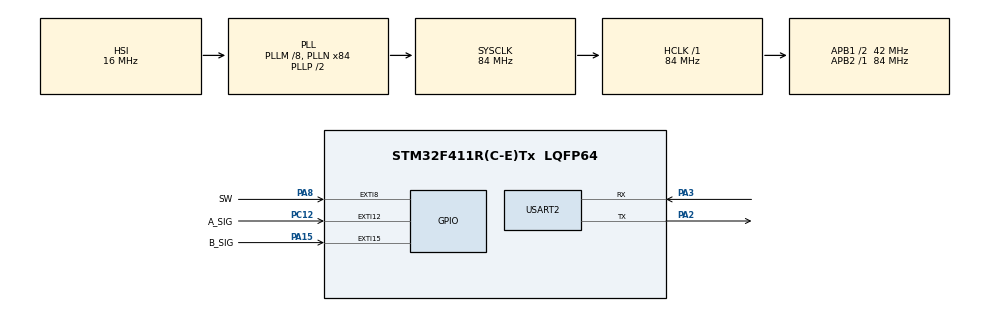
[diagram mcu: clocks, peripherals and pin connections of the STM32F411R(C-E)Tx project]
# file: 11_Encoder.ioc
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Mcu.Family=STM32F4
Mcu.Name=STM32F411R(C-E)Tx
Mcu.Package=LQFP64
NVIC.EXTI15_10_IRQn=true\:0\:0\:false\:false\:true\:true\:true\:true
NVIC.EXTI9_5_IRQn=true\:0\:0\:false\:false\:true\:true\:true\:true
NVIC.PriorityGroup=NVIC_PRIORITYGROUP_4
PA13.Mode=Serial_Wire
PA13.Signal=SYS_JTMS-SWDIO
PA14.Mode=Serial_Wire
PA14.Signal=SYS_JTCK-SWCLK
PA15.GPIO_Label=B_SIG
PA15.Signal=GPXTI15
PA2.Mode=Asynchronous
PA2.Signal=USART2_TX
PA3.Mode=Asynchronous
PA3.Signal=USART2_RX
PA8.GPIO_Label=SW
PA8.GPIO_ModeDefaultEXTI=GPIO_MODE_IT_FALLING
PA8.Signal=GPXTI8
PC12.GPIO_Label=A_SIG
PC12.Signal=GPXTI12
ProjectManager.HeapSize=0x200
ProjectManager.StackSize=0x400
ProjectManager.TargetToolchain=STM32CubeIDE
RCC.48MHZClocksFreq_Value=42000000
RCC.AHBFreq_Value=84000000
RCC.APB1CLKDivider=RCC_HCLK_DIV2
RCC.APB1Freq_Value=42000000
RCC.APB1TimFreq_Value=84000000
RCC.APB2Freq_Value=84000000
RCC.APB2TimFreq_Value=84000000
RCC.CortexFreq_Value=84000000
RCC.HCLKFreq_Value=84000000
RCC.HSE_VALUE=25000000
RCC.HSI_VALUE=16000000
RCC.LSE_VALUE=32768
RCC.PLLM=8
RCC.PLLN=84
RCC.SYSCLKFreq_VALUE=84000000
RCC.SYSCLKSource=RCC_SYSCLKSOURCE_PLLCLK
RCC.VCOOutputFreq_Value=168000000
USART2.VirtualMode=VM_ASYNC
board=custom

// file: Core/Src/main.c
/* USER CODE BEGIN Header */
/**
  ******************************************************************************
  * @file           : main.c
  * @brief          : Main program body
  ******************************************************************************
  * @attention
  *
  * Copyright (c) 2024 STMicroelectronics.
  * All rights reserved.
  *
  * This software is licensed under terms that can be found in the LICENSE file
  * in the root directory of this software component.
  * If no LICENSE file comes with this software, it is provided AS-IS.
  *
  ******************************************************************************
  */
/* USER CODE END Header */
#include "main.h"

UART_HandleTypeDef huart2;

/* USER CODE BEGIN PV */
volatile int gEnCoderCnt;
/* USER CODE END PV */

void SystemClock_Config(void);
static void MX_GPIO_Init(void);
static void MX_USART2_UART_Init(void);
/* USER CODE BEGIN PFP */
#ifdef __GNUC__
/* With GCC, small printf (option LD Linker->Libraries->Small printf
 * set to 'Yes') calls __io_putchar()*/
#define PUTCHAR_PROTOTYPE int __io_putchar(int ch)
#else
#define PUTCHAR_PROTOTYPE int fputc(int ch, FILE *f)
#endif /*__GNUC__*/

/**
 * @brief Retargets the C library printf function to the USART.
 * @param None
 * @retval None
 */
PUTCHAR_PROTOTYPE
{
	/*Place your implementation of fputc here */
	/* e.g. write a character to the USART1 and Loop
	 * until the end of transmission */
	if(ch == '/n')
		HAL_UART_Transmit(&huart2, (uint8_t*) "/r", 1, 0xFFFF);
		HAL_UART_Transmit(&huart2, (uint8_t*) &ch, 1, 0xFFFF);

	return ch;
}
/* USER CODE END PFP */

int main(void)
{

  /* MCU Configuration--------------------------------------------------------*/

  /* Reset of all peripherals, Initializes the Flash interface and the Systick. */
  HAL_Init();

  /* Configure the system clock */
  SystemClock_Config();

  /* Initialize all configured peripherals */
  MX_GPIO_Init();
  MX_USART2_UART_Init();

  /* Infinite loop */
  /* USER CODE BEGIN WHILE */
  int preEncoderCnt = 0;

  while (1)
  {
	  if (preEncoderCnt != gEnCoderCnt)
		  {
			preEncoderCnt = gEnCoderCnt;
			printf ("%d\n", preEncoderCnt);
		  }
    /* USER CODE END WHILE */

  }
}

void SystemClock_Config(void)
{
  RCC_OscInitTypeDef RCC_OscInitStruct = {0};
  RCC_ClkInitTypeDef RCC_ClkInitStruct = {0};

  /** Configure the main internal regulator output voltage
  */
  __HAL_RCC_PWR_CLK_ENABLE();
  __HAL_PWR_VOLTAGESCALING_CONFIG(PWR_REGULATOR_VOLTAGE_SCALE1);

  /** Initializes the RCC Oscillators according to the specified parameters
  * in the RCC_OscInitTypeDef structure.
  */
  RCC_OscInitStruct.OscillatorType = RCC_OSCILLATORTYPE_HSI;
  RCC_OscInitStruct.HSIState = RCC_HSI_ON;
  RCC_OscInitStruct.HSICalibrationValue = RCC_HSICALIBRATION_DEFAULT;
  RCC_OscInitStruct.PLL.PLLState = RCC_PLL_ON;
  RCC_OscInitStruct.PLL.PLLSource = RCC_PLLSOURCE_HSI;
  RCC_OscInitStruct.PLL.PLLM = 8;
  RCC_OscInitStruct.PLL.PLLN = 84;
  RCC_OscInitStruct.PLL.PLLP = RCC_PLLP_DIV2;
  RCC_OscInitStruct.PLL.PLLQ = 4;
  if (HAL_RCC_OscConfig(&RCC_OscInitStruct) != HAL_OK)
  {
    Error_Handler();
  }

  /** Initializes the CPU, AHB and APB buses clocks
  */
  RCC_ClkInitStruct.ClockType = RCC_CLOCKTYPE_HCLK|RCC_CLOCKTYPE_SYSCLK
                              |RCC_CLOCKTYPE_PCLK1|RCC_CLOCKTYPE_PCLK2;
  RCC_ClkInitStruct.SYSCLKSource = RCC_SYSCLKSOURCE_PLLCLK;
  RCC_ClkInitStruct.AHBCLKDivider = RCC_SYSCLK_DIV1;
  RCC_ClkInitStruct.APB1CLKDivider = RCC_HCLK_DIV2;
  RCC_ClkInitStruct.APB2CLKDivider = RCC_HCLK_DIV1;

  if (HAL_RCC_ClockConfig(&RCC_ClkInitStruct, FLASH_LATENCY_2) != HAL_OK)
  {
    Error_Handler();
  }
}

static void MX_USART2_UART_Init(void)
{

  huart2.Instance = USART2;
  huart2.Init.BaudRate = 115200;
  huart2.Init.WordLength = UART_WORDLENGTH_8B;
  huart2.Init.StopBits = UART_STOPBITS_1;
  huart2.Init.Parity = UART_PARITY_NONE;
  huart2.Init.Mode = UART_MODE_TX_RX;
  huart2.Init.HwFlowCtl = UART_HWCONTROL_NONE;
  huart2.Init.OverSampling = UART_OVERSAMPLING_16;
  if (HAL_UART_Init(&huart2) != HAL_OK)
  {
    Error_Handler();
  }

}

static void MX_GPIO_Init(void)
{
  GPIO_InitTypeDef GPIO_InitStruct = {0};

  /* GPIO Ports Clock Enable */
  __HAL_RCC_GPIOA_CLK_ENABLE();
  __HAL_RCC_GPIOC_CLK_ENABLE();

  /*Configure GPIO pin : SW_Pin */
  GPIO_InitStruct.Pin = SW_Pin;
  GPIO_InitStruct.Mode = GPIO_MODE_IT_FALLING;
  GPIO_InitStruct.Pull = GPIO_NOPULL;
  HAL_GPIO_Init(SW_GPIO_Port, &GPIO_InitStruct);

  /*Configure GPIO pin : B_SIG_Pin */
  GPIO_InitStruct.Pin = B_SIG_Pin;
  GPIO_InitStruct.Mode = GPIO_MODE_IT_RISING;
  GPIO_InitStruct.Pull = GPIO_NOPULL;
  HAL_GPIO_Init(B_SIG_GPIO_Port, &GPIO_InitStruct);

  /*Configure GPIO pin : A_SIG_Pin */
  GPIO_InitStruct.Pin = A_SIG_Pin;
  GPIO_InitStruct.Mode = GPIO_MODE_IT_RISING;
  GPIO_InitStruct.Pull = GPIO_NOPULL;
  HAL_GPIO_Init(A_SIG_GPIO_Port, &GPIO_InitStruct);

  /* EXTI interrupt init*/
  HAL_NVIC_SetPriority(EXTI9_5_IRQn, 0, 0);
  HAL_NVIC_EnableIRQ(EXTI9_5_IRQn);

  HAL_NVIC_SetPriority(EXTI15_10_IRQn, 0, 0);
  HAL_NVIC_EnableIRQ(EXTI15_10_IRQn);

}

/* USER CODE BEGIN 4 */
void HAL_GPIO_EXTI_Callback(uint16_t GPIO_Pin)
{
	  switch (GPIO_Pin)
	    {
	    case GPIO_PIN_8:	// SW_Pin
	      gEnCoderCnt = 0;
	      break;

	    case GPIO_PIN_12:	// A_SIG_Pin
	      if (!HAL_GPIO_ReadPin (B_SIG_GPIO_Port, B_SIG_Pin))
	        gEnCoderCnt++;
	      break;

	    case GPIO_PIN_15:	// B_SIG_Pin
	      if (!HAL_GPIO_ReadPin (A_SIG_GPIO_Port, A_SIG_Pin))
	        gEnCoderCnt--;
	      break;

	    default:
	      ;
	    }
}
/* USER CODE END 4 */

void Error_Handler(void)
{
  __disable_irq();
  while (1)
  {
  }
}
